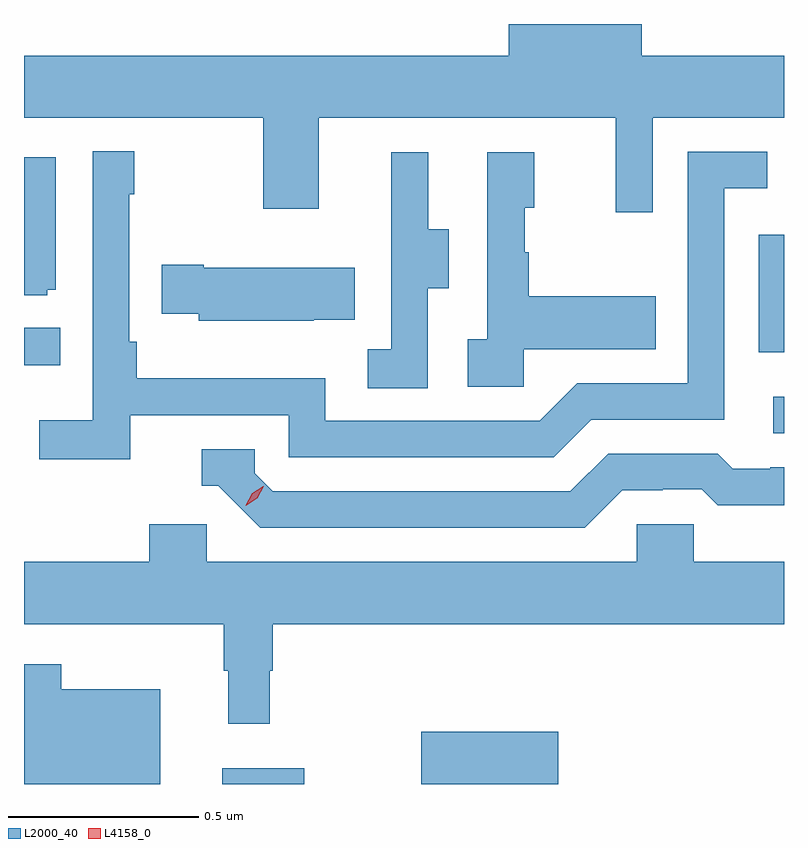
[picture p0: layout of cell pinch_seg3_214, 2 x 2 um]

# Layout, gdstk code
import gdstk
lib = gdstk.Library(unit=1e-6, precision=1e-09)
def R(c, l, rs):  # rectangles x0, y0, x1, y1
    for r in rs: c.add(gdstk.rectangle(r[:2], r[2:], *l))
def P(c, l, *ps):  # polygons
    for p in ps: c.add(gdstk.Polygon(p, *l))
L2000_40 = (2000, 40)
L4158_0 = (4158, 0)

pinch_seg3_214 = lib.new_cell('pinch_seg3_214')
R(pinch_seg3_214, L2000_40, [(965.363,737.791,965.578,737.833), (965.887,737.791,966.247,737.929), (966.813,738.714,966.841,738.81), (964.841,738.893,964.937,738.992), (966.774,738.927,966.841,739.236)])
P(pinch_seg3_214, L2000_40, [(966.495,739.544),(966.841,739.544),(966.841,739.708),(966.466,739.708),(966.466,739.791),(966.116,739.791),(966.116,739.708),(964.841,739.708),(964.841,739.544),(965.47,739.544),(965.47,739.305),(965.617,739.305),(965.617,739.544),(966.398,739.544),(966.398,739.296),(966.495,739.296)],
  [(965.12,738.762),(965.538,738.762),(965.538,738.651),(966.235,738.651),(966.334,738.75),(966.684,738.75),(966.684,739.359),(966.797,739.359),(966.797,739.455),(966.588,739.455),(966.588,738.846),(966.297,738.846),(966.198,738.747),(965.634,738.747),(965.634,738.859),(965.138,738.859),(965.138,738.955),(965.118,738.955),(965.118,739.343),(965.131,739.343),(965.131,739.456),(965.022,739.456),(965.022,738.748),(964.881,738.748),(964.881,738.646),(965.12,738.646)],
  [(966.156,738.935),(966.503,738.935),(966.503,739.075),(966.169,739.075),(966.169,739.19),(966.159,739.19),(966.159,739.308),(966.184,739.308),(966.184,739.453),(966.06,739.453),(966.06,738.962),(966.009,738.962),(966.009,738.837),(966.156,738.837)],
  [(965.904,739.096),(965.959,739.096),(965.959,739.251),(965.905,739.251),(965.905,739.453),(965.807,739.453),(965.807,739.239),(965.808,739.239),(965.808,738.935),(965.745,738.935),(965.745,738.832),(965.904,738.832)],
  [(964.902,739.092),(964.924,739.092),(964.924,739.441),(964.841,739.441),(964.841,739.077),(964.902,739.077)],
  [(965.603,739.013),(965.711,739.013),(965.711,739.15),(965.314,739.15),(965.314,739.158),(965.203,739.158),(965.203,739.028),(965.301,739.028),(965.301,739.01),(965.603,739.01)],
  [(966.415,738.564),(966.522,738.564),(966.522,738.567),(966.625,738.567),(966.667,738.525),(966.841,738.525),(966.841,738.624),(966.805,738.624),(966.805,738.621),(966.706,738.621),(966.667,738.66),(966.378,738.66),(966.279,738.561),(965.496,738.561),(965.448,738.609),(965.448,738.672),(965.309,738.672),(965.309,738.576),(965.352,738.576),(965.463,738.465),(966.316,738.465)],
  [(965.488,738.089),(965.495,738.089),(965.495,738.212),(966.841,738.212),(966.841,738.376),(966.603,738.376),(966.603,738.474),(966.453,738.474),(966.453,738.376),(965.322,738.376),(965.322,738.474),(965.171,738.474),(965.171,738.376),(964.841,738.376),(964.841,738.212),(965.367,738.212),(965.367,738.089),(965.378,738.089),(965.378,737.949),(965.488,737.949)],
  [(965.2,738.04),(964.939,738.04),(964.939,738.106),(964.841,738.106),(964.841,737.791),(965.2,737.791)])
P(pinch_seg3_214, L4158_0, [(965.424,738.523),(965.424,738.524),(965.441,738.556),(965.471,738.575),(965.472,738.575),(965.472,738.575),(965.455,738.543),(965.425,738.523)])

lib.write_gds('pinch_seg3_214.gds')
